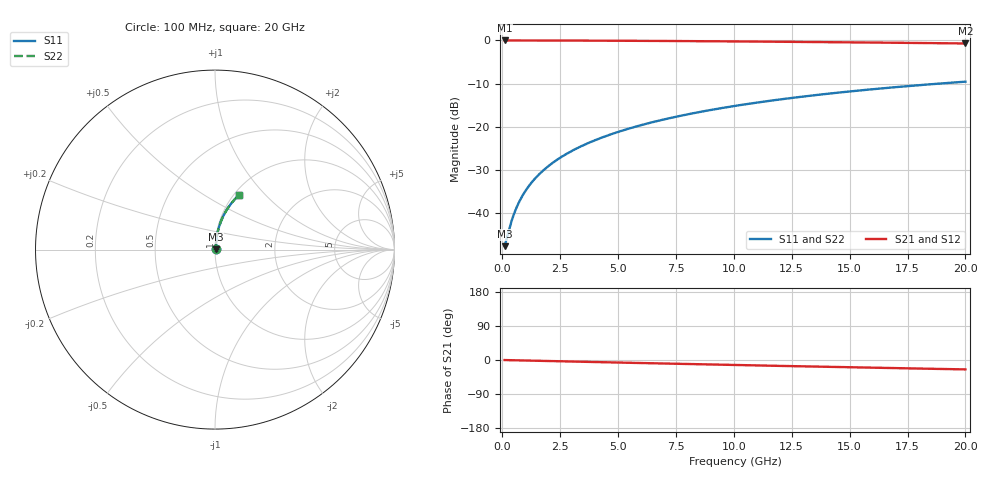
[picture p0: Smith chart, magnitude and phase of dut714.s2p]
! Touchstone file exported from HFSS 2024.1.0
!  File:  C:/UserFiles/LocalFiles/RDL_TSV_Batchsim/temp_RDL_top_714_1779850320.aedt
!  Generated:  10:54:32 AM May 27, 2026
!  Design:  RDL_top
!  Project:  temp_RDL_top_714_1779850320
!  Setup:  Setup1
!  Solution:  Sweep
! Variables:
!  dtsv = 10.80580581um
!  hbump = 3um
!  htsv = 77.22um
!  ldown = 100um
!  lrdl = 252.02um
!  p = 40
!  p1 = 51.09um
!  rhole = 1um
!  t = 450um
!  tdown = 3.915915916um
!  trdl = 2.4um
!  wdown = 15.38538539um
!  wrdl = 10.41um
# GHz S MA R 50.000000
! Terminal data exported
! Port[1] = Box2_T1
! Port[2] = Box2_T2
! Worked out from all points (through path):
!   200 points, 100 MHz to 20 GHz, reference 50 ohm
!   highest |S21| = -0.03 dB at 100 MHz (marker M1); lowest = -0.7 dB at 20 GHz (marker M2)
!   group delay of S21, straight-line fit = 3.45 ps
!   lowest |S11| = -47.6 dB at 100 MHz (marker M3), VSWR 1.01, Z = 50.4 + j0.18 ohm
!   |S11| at or under -10 dB: start of sweep to 18.9 GHz
!   |S22| runs from -47.6 to -9.6 dB; largest |S21 - S12| = 2.6e-15
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0.1  0.004159 25.5  0.9962 -0.1  0.9962 -0.1  0.004159 25.5
! Gamma 0 0 0 0
! Port Impedance 50 0 50 0
0.3  0.006581 54.5  0.9962 -0.4  0.9962 -0.4  0.006581 54.5
0.4  0.008115 61.4  0.9961 -0.6  0.9961 -0.6  0.008115 61.4
0.5  0.009726 66.1  0.9961 -0.7  0.9961 -0.7  0.009726 66.1
0.6  0.01138 69.3  0.996 -0.8  0.996 -0.8  0.01138 69.3
0.7  0.01305 71.7  0.9959 -1.0  0.9959 -1.0  0.01305 71.7
0.9  0.01643 74.9  0.9957 -1.2  0.9957 -1.2  0.01643 74.9
1.2  0.02153 77.7  0.9955 -1.6  0.9955 -1.6  0.02153 77.7
1.4  0.02495 79.0  0.9953 -1.9  0.9953 -1.9  0.02495 79.0
1.7  0.03009 80.2  0.995 -2.3  0.995 -2.3  0.03009 80.2
2.2  0.03868 81.4  0.9944 -3.0  0.9944 -3.0  0.03868 81.4
2.8  0.04903 82.0  0.9935 -3.8  0.9935 -3.8  0.04903 82.0
3.5  0.06114 82.2  0.9923 -4.7  0.9923 -4.7  0.06114 82.2
4.2  0.07328 82.1  0.9908 -5.7  0.9908 -5.7  0.07328 82.1
5  0.08717 81.8  0.9889 -6.7  0.9889 -6.7  0.08717 81.8
5.9  0.1028 81.2  0.9864 -7.9  0.9864 -7.9  0.1028 81.2
6.8  0.1184 80.5  0.9836 -9.1  0.9836 -9.1  0.1184 80.5
8.3  0.1444 79.1  0.9783 -11.0  0.9783 -11.0  0.1444 79.1
10.1  0.1752 77.2  0.9712 -13.2  0.9712 -13.2  0.1752 77.2
13.4  0.2303 73.6  0.9559 -17.2  0.9559 -17.2  0.2303 73.6
16.7  0.2829 69.9  0.9386 -21.1  0.9386 -21.1  0.2829 69.9
20  0.3324 66.2  0.9198 -24.8  0.9198 -24.8  0.3323 66.2
